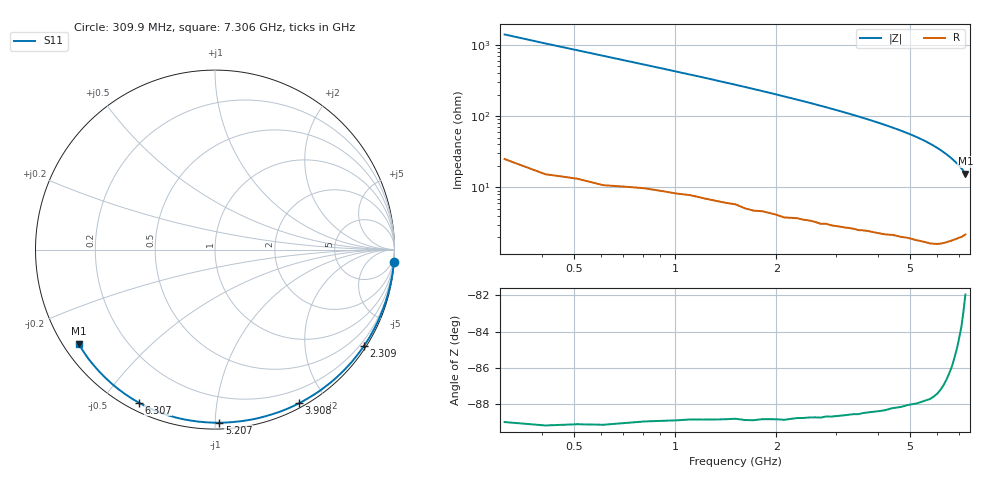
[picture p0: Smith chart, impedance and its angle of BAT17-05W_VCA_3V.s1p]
! Infineon Technologies  Discrete & RF Semiconductors
! BAT17-05W
! VCA = 3 V
! One-Port S-Parameters
# Hz  S  MA  R  50
!f  S11
!Hz  Mag  Ang
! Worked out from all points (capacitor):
!   71 points, 309.9 MHz to 7.306 GHz, reference 50 ohm
!   read as one part to ground: C = 373 fF near 309.9 MHz
!   lowest |Z| = 15.7 ohm at 7.306 GHz (marker M1)
!   S11 on the Smith chart (normalised r, x): 309.9 MHz: 1, -28; 2.309 GHz: 0.07, -3.39; 3.908 GHz: 0.05, -1.69; 5.207 GHz: 0.04, -1.02; 6.307 GHz: 0.03, -0.62; 7.306 GHz: 0.04, -0.31
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3.0985e8  0.9987 -4.1
7.0965e8  0.9972 -9.5
1.2094e9  0.9943 -16.4
1.70915e9  0.9921 -23.6
2.10895e9  0.9901 -29.7
2.30885e9  0.9882 -32.9
2.50875e9  0.9869 -36.1
2.70865e9  0.9859 -39.5
3.0085e9  0.9835 -44.7
3.4083e9  0.9801 -51.8
3.8081e9  0.9765 -59.4
3.90805e9  0.9758 -61.3
4.10795e9  0.9742 -65.3
4.30785e9  0.9722 -69.3
4.70765e9  0.9686 -77.5
5.0075e9  0.966 -84.1
5.2074e9  0.965 -88.6
5.4073e9  0.9634 -93.2
5.6072e9  0.962 -98.1
5.8071e9  0.9606 -103.1
6.007e9  0.9583 -108.4
6.2069e9  0.9548 -113.7
6.30685e9  0.9527 -116.5
6.50675e9  0.9479 -122.1
6.70665e9  0.9427 -127.7
6.90655e9  0.937 -133.5
7.10645e9  0.9313 -139.4
7.30635e9  0.9231 -145.4
